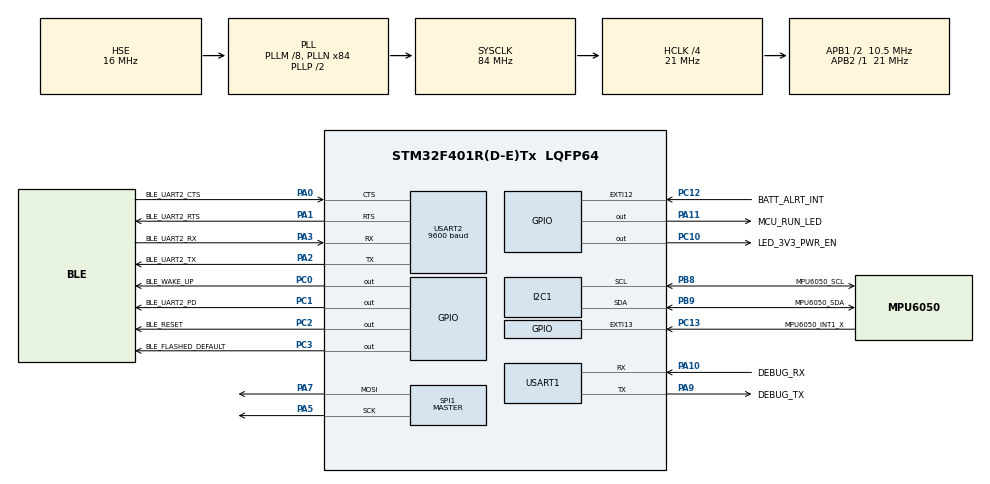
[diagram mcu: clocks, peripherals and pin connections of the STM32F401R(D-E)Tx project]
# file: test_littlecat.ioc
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Dma.I2C1_RX.1.Direction=DMA_PERIPH_TO_MEMORY
Dma.I2C1_RX.1.FIFOMode=DMA_FIFOMODE_DISABLE
Dma.I2C1_RX.1.Instance=DMA1_Stream0
Dma.I2C1_RX.1.MemDataAlignment=DMA_MDATAALIGN_BYTE
Dma.I2C1_RX.1.MemInc=DMA_MINC_ENABLE
Dma.I2C1_RX.1.Mode=DMA_NORMAL
Dma.I2C1_RX.1.PeriphDataAlignment=DMA_PDATAALIGN_BYTE
Dma.I2C1_RX.1.PeriphInc=DMA_PINC_DISABLE
Dma.I2C1_RX.1.Priority=DMA_PRIORITY_LOW
Dma.Request0=SPI1_TX
Dma.Request1=I2C1_RX
Dma.SPI1_TX.0.Direction=DMA_MEMORY_TO_PERIPH
Dma.SPI1_TX.0.FIFOMode=DMA_FIFOMODE_DISABLE
Dma.SPI1_TX.0.Instance=DMA2_Stream3
Dma.SPI1_TX.0.MemDataAlignment=DMA_MDATAALIGN_BYTE
Dma.SPI1_TX.0.MemInc=DMA_MINC_ENABLE
Dma.SPI1_TX.0.Mode=DMA_NORMAL
Dma.SPI1_TX.0.PeriphDataAlignment=DMA_PDATAALIGN_BYTE
Dma.SPI1_TX.0.PeriphInc=DMA_PINC_DISABLE
Dma.SPI1_TX.0.Priority=DMA_PRIORITY_LOW
I2C1.I2C_Mode=I2C_Fast
Mcu.Family=STM32F4
Mcu.Name=STM32F401R(D-E)Tx
Mcu.Package=LQFP64
NVIC.DMA1_Stream0_IRQn=true\:0\:0\:false\:false\:true\:false\:true
NVIC.DMA2_Stream3_IRQn=true\:10\:0\:true\:false\:true\:false\:true
NVIC.EXTI15_10_IRQn=true\:3\:0\:true\:false\:true\:true\:true
NVIC.PriorityGroup=NVIC_PRIORITYGROUP_4
NVIC.TIM5_IRQn=true\:0\:0\:true\:false\:true\:false\:true
NVIC.TimeBase=TIM5_IRQn
NVIC.TimeBaseIP=TIM5
NVIC.USART2_IRQn=true\:5\:0\:true\:false\:true\:true\:true
PA0-WKUP.GPIO_Label=BLE_UART2_CTS
PA0-WKUP.Mode=CTS_RTS
PA0-WKUP.Signal=USART2_CTS
PA1.GPIO_Label=BLE_UART2_RTS
PA1.Mode=CTS_RTS
PA1.Signal=USART2_RTS
PA10.GPIO_Label=DEBUG_RX
PA10.GPIO_PuPd=GPIO_PULLUP
PA10.Mode=Asynchronous
PA10.Signal=USART1_RX
PA11.GPIO_Label=MCU_RUN_LED
PA11.GPIO_PuPd=GPIO_PULLUP
PA11.Signal=GPIO_Output
PA13.Mode=Serial_Wire
PA13.Signal=SYS_JTMS-SWDIO
PA14.Mode=Serial_Wire
PA14.Signal=SYS_JTCK-SWCLK
PA2.GPIO_Label=BLE_UART2_TX
PA2.GPIO_PuPd=GPIO_PULLUP
PA2.Mode=Asynchronous
PA2.Signal=USART2_TX
PA3.GPIO_Label=BLE_UART2_RX
PA3.GPIO_PuPd=GPIO_PULLUP
PA3.Mode=Asynchronous
PA3.Signal=USART2_RX
PA5.GPIO_PuPd=GPIO_NOPULL
PA5.Mode=TX_Only_Simplex_Unidirect_Master
PA5.Signal=SPI1_SCK
PA7.GPIO_PuPd=GPIO_PULLDOWN
PA7.Mode=TX_Only_Simplex_Unidirect_Master
PA7.Signal=SPI1_MOSI
PA9.GPIO_Label=DEBUG_TX
PA9.GPIO_PuPd=GPIO_PULLUP
PA9.Mode=Asynchronous
PA9.Signal=USART1_TX
PB8.GPIO_Label=MPU6050_SCL
PB8.GPIO_PuPdOD=GPIO_NOPULL
PB8.Mode=I2C
PB8.Signal=I2C1_SCL
PB9.GPIO_Label=MPU6050_SDA
PB9.GPIO_PuPdOD=GPIO_NOPULL
PB9.Mode=I2C
PB9.Signal=I2C1_SDA
PC0.GPIO_Label=BLE_WAKE_UP
PC0.GPIO_PuPd=GPIO_PULLUP
PC0.Signal=GPIO_Output
PC1.GPIO_Label=BLE_UART2_PD
PC1.GPIO_PuPd=GPIO_PULLDOWN
PC1.Signal=GPIO_Output
PC10.GPIO_Label=LED_3V3_PWR_EN
PC10.GPIO_PuPd=GPIO_PULLDOWN
PC10.Signal=GPIO_Output
PC12.GPIO_Label=BATT_ALRT_INT
PC12.Signal=GPXTI12
PC13-ANTI_TAMP.GPIO_Label=MPU6050_INT1_X
PC13-ANTI_TAMP.Signal=GPXTI13
PC14-OSC32_IN.Mode=LSE-External-Oscillator
PC14-OSC32_IN.Signal=RCC_OSC32_IN
PC15-OSC32_OUT.Mode=LSE-External-Oscillator
PC15-OSC32_OUT.Signal=RCC_OSC32_OUT
PC2.GPIO_Label=BLE_RESET
PC2.GPIO_PuPd=GPIO_PULLUP
PC2.Signal=GPIO_Output
PC3.GPIO_Label=BLE_FLASHED_DEFAULT
PC3.GPIO_PuPd=GPIO_PULLUP
PC3.Signal=GPIO_Output
PH0\ -\ OSC_IN.Mode=HSE-External-Oscillator
PH0\ -\ OSC_IN.Signal=RCC_OSC_IN
PH1\ -\ OSC_OUT.Mode=HSE-External-Oscillator
PH1\ -\ OSC_OUT.Signal=RCC_OSC_OUT
ProjectManager.HeapSize=0x200
ProjectManager.StackSize=0x400
ProjectManager.TargetToolchain=STM32CubeIDE
RCC.48MHZClocksFreq_Value=42000000
RCC.AHBCLKDivider=RCC_SYSCLK_DIV4
RCC.AHBFreq_Value=21000000
RCC.APB1CLKDivider=RCC_HCLK_DIV2
RCC.APB1Freq_Value=10500000
RCC.APB1TimFreq_Value=21000000
RCC.APB2Freq_Value=21000000
RCC.APB2TimFreq_Value=21000000
RCC.CortexFreq_Value=21000000
RCC.HCLKFreq_Value=21000000
RCC.HSE_VALUE=16000000
RCC.HSI_VALUE=16000000
RCC.PLLM=8
RCC.PLLN=84
RCC.PLLSourceVirtual=RCC_PLLSOURCE_HSE
RCC.RCC_RTC_Clock_Source=RCC_RTCCLKSOURCE_LSE
RCC.RCC_RTC_Clock_SourceVirtual=RCC_RTCCLKSOURCE_LSE
RCC.SYSCLKFreq_VALUE=84000000
RCC.SYSCLKSource=RCC_SYSCLKSOURCE_PLLCLK
RCC.VCOOutputFreq_Value=168000000
RTC.Format=RTC_FORMAT_BIN
SPI1.BaudRatePrescaler=SPI_BAUDRATEPRESCALER_8
SPI1.Direction=SPI_DIRECTION_2LINES
SPI1.Mode=SPI_MODE_MASTER
SPI1.VirtualType=VM_MASTER
USART1.VirtualMode=VM_ASYNC
USART2.BaudRate=9600
USART2.VirtualMode=VM_ASYNC
VP_RTC_VS_RTC_Activate.Mode=RTC_Enabled
VP_RTC_VS_RTC_Calendar.Mode=RTC_Calendar
VP_SYS_VS_tim5.Mode=TIM5
board=custom

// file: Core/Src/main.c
/* USER CODE BEGIN Header */
/**
 ******************************************************************************
 * @file           : main.c
 * @brief          : Main program body
 ******************************************************************************
 * @attention
 *
 * <h2><center>&copy; Copyright (c) 2020 STMicroelectronics.
 * All rights reserved.</center></h2>
 *
 * This software component is licensed by ST under BSD 3-Clause license,
 * the "License"; You may not use this file except in compliance with the
 * License. You may obtain a copy of the License at:
 *                        opensource.org/licenses/BSD-3-Clause
 *
 ******************************************************************************
 */
/* USER CODE END Header */

#include "main.h"

/* USER CODE BEGIN Includes */

#include "power.h"
#include "ws2812b.h"
#include "usart.h"
#include "mpu6050_dmp.h"
#include "mdbt42q.h"
#include "max17043.h"
#include "flash_if.h"
#include "circular_buffer.h"
#include <time.h>
#include <math.h>
/* USER CODE END Includes */

/* USER CODE BEGIN PD */
#define F(x) x

/* USER CODE END PD */

I2C_HandleTypeDef hi2c1;
DMA_HandleTypeDef hdma_i2c1_rx;

RTC_HandleTypeDef hrtc;

SPI_HandleTypeDef hspi1;
DMA_HandleTypeDef hdma_spi1_tx;

UART_HandleTypeDef huart1;
UART_HandleTypeDef huart2;

/* USER CODE BEGIN PV */

float Roll_before = 0.0f;
float cal_ledPos_before = 0.0f;

uint32_t ledmove;
uint8_t Stable_state = 0;
uint8_t beforeDirectionMove = 0;
uint8_t tickCounter = 0;
int16_t out_ledPos;
int16_t out_ledPos2;
uint8_t directionMove = 0;
uint8_t running_mode = STAT_SLEEP;
RTC_DateTypeDef rtc_date;
RTC_TimeTypeDef rtc_time;
uint32_t last_moved_tick;
uint32_t first_moved_tick;
uint32_t bat_previous_time;
uint16_t accumulate_ledmove = 0;
uint16_t before_accumulate_ledmove = 0;
time_t timestamp;
dataExercise *exData;
uint32_t now_Tick = 0;
uint32_t beforeTick = 0;
uint32_t gapTick = 0;
int16_t speedAdjustTarget = 0;
int16_t speedAdjustTargetArray[5] = { 0, };
int8_t speedAdjustTargetArrayCounter = 0;
int8_t speedAdjust = 0;
uint8_t ledPos_before;
uint8_t Cal_done = 0;
uint8_t mpuInterrupt = 0;
struct tm currTime;

/* USER CODE END PV */

void SystemClock_Config(void);
static void MX_GPIO_Init(void);
static void MX_DMA_Init(void);
static void MX_I2C1_Init(void);
static void MX_USART1_UART_Init(void);
static void MX_SPI1_Init(void);
static void MX_RTC_Init(void);
static void MX_USART2_UART_Init(void);

/* USER CODE BEGIN 0 */
int _write(int fd, char *str, int len) {
	for (int i = 0; i < len; i++) {
		HAL_UART_Transmit(&huart1, (uint8_t*) &str[i], 1, 0xFFFF);
	}
	return len;
}

/* USER CODE END 0 */

int main(void) {

	/* MCU Configuration--------------------------------------------------------*/

	/* Reset of all peripherals, Initializes the Flash interface and the Systick. */
	HAL_Init();

	/* Configure the system clock */
	SystemClock_Config();

	/* Initialize all configured peripherals */
	MX_GPIO_Init();
	MX_DMA_Init();
	MX_I2C1_Init();
	MX_USART1_UART_Init();
	MX_SPI1_Init();
	MX_RTC_Init();
	MX_USART2_UART_Init();
	/* USER CODE BEGIN 2 */

	initLEDMOSI();
	targetLedPos = (uint8_t) ((LED_TOTAL / 360.0f) * roundf(targetAnglel));
	uint8_t temp[1] = { 0 };
	//	 Flag_Show=1;
	uint8_t count = 0;

	while (temp[0] != 0x68) {
		if (HAL_I2C_IsDeviceReady(&hi2c1, 0x68 << 1, 10, 100) == HAL_OK) {
			printf("I2C Address is 0x%02X(7bit value) ready\r\n", 0x68);

		}
		if (count == 10) {

			printf("MPU6050  error\r\n");
			NVIC_SystemReset();

		}
		if (HAL_I2C_Mem_Read(&hi2c1, 0x68 << 1, 0x75, I2C_MEMADD_SIZE_8BIT,
				temp, 1, 100) != HAL_OK) {

			HAL_I2C_ClearBusyFlagErrata_2_14_7(&hi2c1);
			__HAL_RCC_I2C1_FORCE_RESET();
			HAL_Delay(100);
			__HAL_RCC_I2C1_RELEASE_RESET();
			count++;
		} else {
			break;
		}

	}
	HAL_Delay(200);

	DMP_Init();

	set_wakeup();
	//max17043_init();
	ble_module_init();
	uart_recv_int_enable();
	test_led_rgb();
	//FLASH_If_Init();
	initExercise();
	Cal_done = 1;
	printf("Booting LittleCat Board!!!!\r\n\n");
	first_moved_tick = bat_previous_time = last_moved_tick = HAL_GetTick();
	//HAL_TIM_Base_Start_IT(&htim11);
	/* USER CODE END 2 */

	/* Infinite loop */
	while (1) {

		/* USER CODE BEGIN 3 */
		if (mpuInterrupt) {
			mpuInterrupt = 0;
			while (MPU6050_getFIFOCount() > 42)
				Read_DMP();
			if (Cal_done) {
				out_ledPos = cal_ledPos - targetLedPos - speedAdjust;
				out_ledPos2 = cal_ledPos - targetLedPos;
				if (out_ledPos < 0)
					out_ledPos = LED_TOTAL + out_ledPos;
				if (out_ledPos2 < 0)
					out_ledPos2 = LED_TOTAL + out_ledPos2;
			}
			if (ledPos_before_inLED != out_ledPos
					|| out_ledPos2 != ledPos_before_inLED2)
				led_update();
		}

		process();
		now_Tick = HAL_GetTick();
		gapTick = now_Tick - beforeTick;
		if (gapTick > 124) {
			tickCounter++;
			beforeTick = now_Tick;
			if (ledPos_before != (uint8_t) (out_ledPos)) {

				if (get_running_mode() == STAT_SLEEP) {
					printf("wake up\r\n");
					DMP_Wake();
					set_wakeup();
					first_moved_tick = now_Tick;

				}
				last_moved_tick = now_Tick;
				ledmove = abs(cal_ledPos_before - cal_ledPos);
				directionMove = (cal_ledPos_before - cal_ledPos) < 0;
				if ((beforeDirectionMove == directionMove) && Cal_done)
					accumulate_ledmove += ledmove;
				beforeDirectionMove = directionMove;
				ledPos_before = out_ledPos;
				cal_ledPos_before = cal_ledPos;

			} else if ((now_Tick - last_moved_tick)
					> 5000&& get_running_mode() != STAT_SLEEP) {
				if (accumulate_ledmove > 30) {
					exData->MoveTick = last_moved_tick - first_moved_tick;
					exData->acumulatedLEDMove = accumulate_ledmove;
					amountOfExercise(exData);
					cmd_process(GET_MOVE_DATA, 0x01);
				}

				accumulate_ledmove = 0;
				printf("go to sleep\r\n");

				clear_led();
				set_sleep();

			} else if ((now_Tick - bat_previous_time)
					> 120000&& get_running_mode() == STAT_SLEEP) { // low bat check

			//printf("power check\r\n");
				if (get_bat_val() <= 10) {
					/* Record cat movement information. */
					//////////////////////////////////////
					DMP_Sleep();
					clear_led();
					ble_disable();
					set_sleep();
					HAL_NVIC_DisableIRQ(TIM1_TRG_COM_TIM11_IRQn);
					DMP_Off();
					MAX17043_setSleep();
					//HAL_TIM_Base_Stop_IT(&htim11);
					printf("power off\r\n");
					HAL_PWR_EnterSTANDBYMode();          //power off
				}
				bat_previous_time = now_Tick;
			}
			if (rand_led_mode) {
				random_led();
			}
			speedAdjustTargetArray[speedAdjustTargetArrayCounter++] =
					((uint16_t) ((accumulate_ledmove - before_accumulate_ledmove)
							* (125 / (float) gapTick)) >> 1);
			if (speedAdjustTargetArrayCounter > 4) {
				speedAdjustTargetArrayCounter = 0;
			}
			speedAdjustTarget = (speedAdjustTargetArray[0]
					+ speedAdjustTargetArray[1] + speedAdjustTargetArray[2]
					+ speedAdjustTargetArray[3] + speedAdjustTargetArray[4])
					/ 5;
			if (directionMove)
				speedAdjustTarget = -speedAdjustTarget;
			if (speedAdjustTarget > speedAdjust) {
				speedAdjust++;
			} else if (speedAdjustTarget < speedAdjust) {
				speedAdjust--;
			}
			before_accumulate_ledmove = accumulate_ledmove;
		}

		if (tickCounter > 7) {
			if (get_running_mode() == STAT_RUNNING) {

				//printf("get tick= %ld\r\n", now_Tick);
				while (HAL_RTC_GetTime(&hrtc, &rtc_time, RTC_FORMAT_BIN))
					;
				while (HAL_RTC_GetDate(&hrtc, &rtc_date, RTC_FORMAT_BIN))
					;
				//				char msg[22]; //YYYY-MM-DD HH:mm:SS
				//				sprintf(msg, "%04d-%02d-%02d %02d:%02d:%02d\r\n",
				//						rtc_date.Year + 2000, rtc_date.Month, rtc_date.Date,
				//						rtc_time.Hours, rtc_time.Minutes, rtc_time.Seconds);
				currTime.tm_year = rtc_date.Year; // In fact: 2000 + 18 - 1900
				currTime.tm_mday = rtc_date.Date;
				currTime.tm_mon = rtc_date.Month;
				currTime.tm_hour = rtc_time.Hours;
				currTime.tm_min = rtc_time.Minutes;
				currTime.tm_sec = rtc_time.Seconds;

				timestamp = mktime(&currTime);
				//				printf("%ld ", (uint32_t) timestamp);
				//				printf("time=  %s", msg);
				//				printf("ledPos= %d\r\n", out_ledPos);
				//
				printf("ledMoveAccum= %d\r\n", accumulate_ledmove);
				printf("lastMoveTick= %lu\r\n", first_moved_tick);

				//			printf("Bat= %ld \r\n", get_bat_val());
				//			printf("BatV= %ld \r\n", (MAX17043_getVCell()));
				HAL_GPIO_TogglePin(MCU_RUN_LED_GPIO_Port, MCU_RUN_LED_Pin);
			}
			tickCounter = 0;
		}
	}
	/* USER CODE END 3 */
}

void SystemClock_Config(void) {
	RCC_OscInitTypeDef RCC_OscInitStruct = { 0 };
	RCC_ClkInitTypeDef RCC_ClkInitStruct = { 0 };
	RCC_PeriphCLKInitTypeDef PeriphClkInitStruct = { 0 };

	/** Configure the main internal regulator output voltage
	 */
	__HAL_RCC_PWR_CLK_ENABLE();
	__HAL_PWR_VOLTAGESCALING_CONFIG(PWR_REGULATOR_VOLTAGE_SCALE2);
	/** Initializes the CPU, AHB and APB busses clocks
	 */
	RCC_OscInitStruct.OscillatorType = RCC_OSCILLATORTYPE_HSE
			| RCC_OSCILLATORTYPE_LSE;
	RCC_OscInitStruct.HSEState = RCC_HSE_ON;
	RCC_OscInitStruct.LSEState = RCC_LSE_ON;
	RCC_OscInitStruct.PLL.PLLState = RCC_PLL_ON;
	RCC_OscInitStruct.PLL.PLLSource = RCC_PLLSOURCE_HSE;
	RCC_OscInitStruct.PLL.PLLM = 8;
	RCC_OscInitStruct.PLL.PLLN = 84;
	RCC_OscInitStruct.PLL.PLLP = RCC_PLLP_DIV2;
	RCC_OscInitStruct.PLL.PLLQ = 4;
	if (HAL_RCC_OscConfig(&RCC_OscInitStruct) != HAL_OK) {
		Error_Handler();
	}
	/** Initializes the CPU, AHB and APB busses clocks
	 */
	RCC_ClkInitStruct.ClockType = RCC_CLOCKTYPE_HCLK | RCC_CLOCKTYPE_SYSCLK
			| RCC_CLOCKTYPE_PCLK1 | RCC_CLOCKTYPE_PCLK2;
	RCC_ClkInitStruct.SYSCLKSource = RCC_SYSCLKSOURCE_PLLCLK;
	RCC_ClkInitStruct.AHBCLKDivider = RCC_SYSCLK_DIV4;
	RCC_ClkInitStruct.APB1CLKDivider = RCC_HCLK_DIV2;
	RCC_ClkInitStruct.APB2CLKDivider = RCC_HCLK_DIV1;

	if (HAL_RCC_ClockConfig(&RCC_ClkInitStruct, FLASH_LATENCY_0) != HAL_OK) {
		Error_Handler();
	}
	PeriphClkInitStruct.PeriphClockSelection = RCC_PERIPHCLK_RTC;
	PeriphClkInitStruct.RTCClockSelection = RCC_RTCCLKSOURCE_LSE;
	if (HAL_RCCEx_PeriphCLKConfig(&PeriphClkInitStruct) != HAL_OK) {
		Error_Handler();
	}
}

static void MX_I2C1_Init(void) {

	hi2c1.Instance = I2C1;
	hi2c1.Init.ClockSpeed = 400000;
	hi2c1.Init.DutyCycle = I2C_DUTYCYCLE_2;
	hi2c1.Init.OwnAddress1 = 0;
	hi2c1.Init.AddressingMode = I2C_ADDRESSINGMODE_7BIT;
	hi2c1.Init.DualAddressMode = I2C_DUALADDRESS_DISABLE;
	hi2c1.Init.OwnAddress2 = 0;
	hi2c1.Init.GeneralCallMode = I2C_GENERALCALL_DISABLE;
	hi2c1.Init.NoStretchMode = I2C_NOSTRETCH_DISABLE;
	if (HAL_I2C_Init(&hi2c1) != HAL_OK) {
		Error_Handler();
	}

}

static void MX_RTC_Init(void) {

	RTC_TimeTypeDef sTime = { 0 };
	RTC_DateTypeDef sDate = { 0 };

	/** Initialize RTC Only
	 */
	hrtc.Instance = RTC;
	hrtc.Init.HourFormat = RTC_HOURFORMAT_24;
	hrtc.Init.AsynchPrediv = 127;
	hrtc.Init.SynchPrediv = 255;
	hrtc.Init.OutPut = RTC_OUTPUT_DISABLE;
	hrtc.Init.OutPutPolarity = RTC_OUTPUT_POLARITY_HIGH;
	hrtc.Init.OutPutType = RTC_OUTPUT_TYPE_OPENDRAIN;
	if (HAL_RTC_Init(&hrtc) != HAL_OK) {
		Error_Handler();
	}

	/** Initialize RTC and set the Time and Date
	 */
	sTime.Hours = 0;
	sTime.Minutes = 0;
	sTime.Seconds = 0;
	sTime.DayLightSaving = RTC_DAYLIGHTSAVING_NONE;
	sTime.StoreOperation = RTC_STOREOPERATION_RESET;
	if (HAL_RTC_SetTime(&hrtc, &sTime, RTC_FORMAT_BIN) != HAL_OK) {
		Error_Handler();
	}
	sDate.WeekDay = RTC_WEEKDAY_MONDAY;
	sDate.Month = RTC_MONTH_JANUARY;
	sDate.Date = 1;
	sDate.Year = 0;

	if (HAL_RTC_SetDate(&hrtc, &sDate, RTC_FORMAT_BIN) != HAL_OK) {
		Error_Handler();
	}

}

static void MX_SPI1_Init(void) {

	/* SPI1 parameter configuration*/
	hspi1.Instance = SPI1;
	hspi1.Init.Mode = SPI_MODE_MASTER;
	hspi1.Init.Direction = SPI_DIRECTION_2LINES;
	hspi1.Init.DataSize = SPI_DATASIZE_8BIT;
	hspi1.Init.CLKPolarity = SPI_POLARITY_LOW;
	hspi1.Init.CLKPhase = SPI_PHASE_1EDGE;
	hspi1.Init.NSS = SPI_NSS_SOFT;
	hspi1.Init.BaudRatePrescaler = SPI_BAUDRATEPRESCALER_8;
	hspi1.Init.FirstBit = SPI_FIRSTBIT_MSB;
	hspi1.Init.TIMode = SPI_TIMODE_DISABLE;
	hspi1.Init.CRCCalculation = SPI_CRCCALCULATION_DISABLE;
	hspi1.Init.CRCPolynomial = 10;
	if (HAL_SPI_Init(&hspi1) != HAL_OK) {
		Error_Handler();
	}

}

static void MX_USART1_UART_Init(void) {

	huart1.Instance = USART1;
	huart1.Init.BaudRate = 115200;
	huart1.Init.WordLength = UART_WORDLENGTH_8B;
	huart1.Init.StopBits = UART_STOPBITS_1;
	huart1.Init.Parity = UART_PARITY_NONE;
	huart1.Init.Mode = UART_MODE_TX_RX;
	huart1.Init.HwFlowCtl = UART_HWCONTROL_NONE;
	huart1.Init.OverSampling = UART_OVERSAMPLING_16;
	if (HAL_UART_Init(&huart1) != HAL_OK) {
		Error_Handler();
	}

}

static void MX_USART2_UART_Init(void) {

	huart2.Instance = USART2;
	huart2.Init.BaudRate = 9600;
	huart2.Init.WordLength = UART_WORDLENGTH_8B;
	huart2.Init.StopBits = UART_STOPBITS_1;
	huart2.Init.Parity = UART_PARITY_NONE;
	huart2.Init.Mode = UART_MODE_TX_RX;
	huart2.Init.HwFlowCtl = UART_HWCONTROL_RTS_CTS;
	huart2.Init.OverSampling = UART_OVERSAMPLING_16;
	if (HAL_UART_Init(&huart2) != HAL_OK) {
		Error_Handler();
	}

}

static void MX_DMA_Init(void) {

	/* DMA controller clock enable */
	__HAL_RCC_DMA2_CLK_ENABLE();
	__HAL_RCC_DMA1_CLK_ENABLE();

	/* DMA interrupt init */
	/* DMA1_Stream0_IRQn interrupt configuration */
	HAL_NVIC_SetPriority(DMA1_Stream0_IRQn, 0, 0);
	HAL_NVIC_EnableIRQ(DMA1_Stream0_IRQn);
	/* DMA2_Stream3_IRQn interrupt configuration */
	HAL_NVIC_SetPriority(DMA2_Stream3_IRQn, 10, 0);
	HAL_NVIC_EnableIRQ(DMA2_Stream3_IRQn);

}

static void MX_GPIO_Init(void) {
	GPIO_InitTypeDef GPIO_InitStruct = { 0 };

	/* GPIO Ports Clock Enable */
	__HAL_RCC_GPIOC_CLK_ENABLE();
	__HAL_RCC_GPIOH_CLK_ENABLE();
	__HAL_RCC_GPIOA_CLK_ENABLE();
	__HAL_RCC_GPIOB_CLK_ENABLE();

	/*Configure GPIO pin Output Level */
	HAL_GPIO_WritePin(GPIOC,
			BLE_WAKE_UP_Pin | BLE_UART2_PD_Pin | BLE_RESET_Pin
					| BLE_FLASHED_DEFAULT_Pin | LED_3V3_PWR_EN_Pin,
			GPIO_PIN_RESET);

	/*Configure GPIO pin Output Level */
	HAL_GPIO_WritePin(MCU_RUN_LED_GPIO_Port, MCU_RUN_LED_Pin, GPIO_PIN_RESET);

	/*Configure GPIO pins : MPU6050_INT1_X_Pin BATT_ALRT_INT_Pin */
	GPIO_InitStruct.Pin = MPU6050_INT1_X_Pin | BATT_ALRT_INT_Pin;
	GPIO_InitStruct.Mode = GPIO_MODE_IT_RISING;
	GPIO_InitStruct.Pull = GPIO_NOPULL;
	HAL_GPIO_Init(GPIOC, &GPIO_InitStruct);

	/*Configure GPIO pins : BLE_WAKE_UP_Pin BLE_RESET_Pin BLE_FLASHED_DEFAULT_Pin */
	GPIO_InitStruct.Pin = BLE_WAKE_UP_Pin | BLE_RESET_Pin
			| BLE_FLASHED_DEFAULT_Pin;
	GPIO_InitStruct.Mode = GPIO_MODE_OUTPUT_PP;
	GPIO_InitStruct.Pull = GPIO_PULLUP;
	GPIO_InitStruct.Speed = GPIO_SPEED_FREQ_LOW;
	HAL_GPIO_Init(GPIOC, &GPIO_InitStruct);

	/*Configure GPIO pins : BLE_UART2_PD_Pin LED_3V3_PWR_EN_Pin */
	GPIO_InitStruct.Pin = BLE_UART2_PD_Pin | LED_3V3_PWR_EN_Pin;
	GPIO_InitStruct.Mode = GPIO_MODE_OUTPUT_PP;
	GPIO_InitStruct.Pull = GPIO_PULLDOWN;
	GPIO_InitStruct.Speed = GPIO_SPEED_FREQ_LOW;
	HAL_GPIO_Init(GPIOC, &GPIO_InitStruct);

	/*Configure GPIO pin : MCU_RUN_LED_Pin */
	GPIO_InitStruct.Pin = MCU_RUN_LED_Pin;
	GPIO_InitStruct.Mode = GPIO_MODE_OUTPUT_PP;
	GPIO_InitStruct.Pull = GPIO_PULLUP;
	GPIO_InitStruct.Speed = GPIO_SPEED_FREQ_LOW;
	HAL_GPIO_Init(MCU_RUN_LED_GPIO_Port, &GPIO_InitStruct);

	/* EXTI interrupt init*/
	HAL_NVIC_SetPriority(EXTI15_10_IRQn, 3, 0);
	HAL_NVIC_EnableIRQ(EXTI15_10_IRQn);

}

/* USER CODE BEGIN 4 */
void HAL_GPIO_EXTI_Callback(uint16_t GPIO_Pin) {
	if (GPIO_Pin == MPU6050_INT1_X_Pin) {

		mpuInterrupt = 1;

	}
}
void HAL_UART_ErrorCallback(UART_HandleTypeDef *huart)

{
//frame error occur by floating You should connect all serial port
	printf("UART ERROR CODE : %lu, UART handler : %X \r\n", huart->ErrorCode,
			(unsigned int) huart->Instance);

}
void HAL_I2C_ClearBusyFlagErrata_2_14_7(I2C_HandleTypeDef *hi2c) {

	static uint8_t resetTried = 0;
	if (resetTried == 1) {
		return;
	}
	uint32_t SDA_PIN = MPU6050_SDA_Pin;
	uint32_t SCL_PIN = MPU6050_SCL_Pin;
	GPIO_InitTypeDef GPIO_InitStruct;

	// 1
	__HAL_I2C_DISABLE(hi2c);

	// 2
	GPIO_InitStruct.Pin = SDA_PIN | SCL_PIN;
	GPIO_InitStruct.Mode = GPIO_MODE_OUTPUT_OD;
	GPIO_InitStruct.Pull = GPIO_NOPULL;
	GPIO_InitStruct.Speed = GPIO_SPEED_FAST;
	HAL_GPIO_Init(GPIOB, &GPIO_InitStruct);

	HAL_GPIO_WRITE_ODR(GPIOB, SDA_PIN);
	HAL_GPIO_WRITE_ODR(GPIOB, SCL_PIN);

	// 6
	GPIO_InitStruct.Pin = SCL_PIN;
	HAL_GPIO_Init(GPIOB, &GPIO_InitStruct);

	// 8
	GPIO_InitStruct.Pin = SDA_PIN;
	HAL_GPIO_Init(GPIOB, &GPIO_InitStruct);

	HAL_GPIO_WRITE_ODR(GPIOB, SDA_PIN);

	// 10
	GPIO_InitStruct.Pin = SCL_PIN;
	HAL_GPIO_Init(GPIOB, &GPIO_InitStruct);

	HAL_GPIO_WRITE_ODR(GPIOB, SCL_PIN);

	// 12

	// 13
	hi2c->Instance->CR1 |= I2C_CR1_SWRST;

	// 14
	hi2c->Instance->CR1 ^= I2C_CR1_SWRST;

	// 15
	__HAL_I2C_ENABLE(hi2c);

	resetTried = 1;
}

void HAL_GPIO_WRITE_ODR(GPIO_TypeDef *GPIOx, uint16_t GPIO_Pin) {
	/* Check the parameters */
	assert_param(IS_GPIO_PIN(GPIO_Pin));

	GPIOx->ODR |= GPIO_Pin;
}
void HAL_I2C_MemTxCpltCallback(I2C_HandleTypeDef *hi2c)

{

	if (hi2c->Instance == hi2c1.Instance)

	{

		//I2C_MasterTransmit_BTF(hi2c);

	}

}
/* USER CODE END 4 */

void HAL_TIM_PeriodElapsedCallback(TIM_HandleTypeDef *htim) {
	if (htim->Instance == TIM5) {
		HAL_IncTick();
	}
	/* USER CODE BEGIN Callback 1 */
	if (htim->Instance == TIM11) {

	}
	/* USER CODE END Callback 1 */
}

void Error_Handler(void) {
	/* USER CODE BEGIN Error_Handler_Debug */
	/* User can add his own implementation to report the HAL error return state */

	printf("main Error_handler \r\n");
	/* USER CODE END Error_Handler_Debug */
}

/************************ (C) COPYRIGHT STMicroelectronics *****END OF FILE****/
